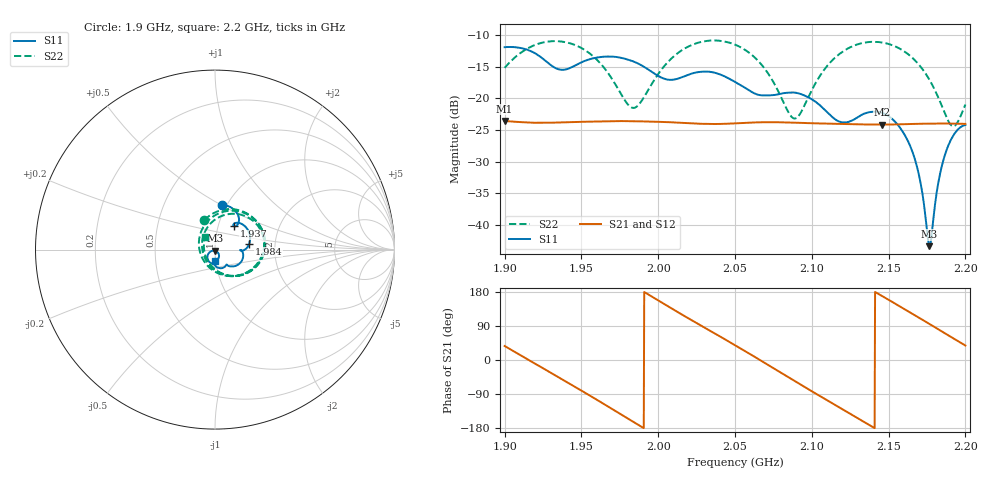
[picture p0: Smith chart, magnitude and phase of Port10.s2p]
# Hz S RI R 50
! CMT, CMT808U, 21440046, 21.4.3/4
! Date: 3/28/2026 5:02:37 PM
! Data: Format (Calibration Info)
! Freq	S11:Re/Im(F2)	S41:Re/Im(F2)	S14:Re/Im(F2)	S44:Re/Im(F2)
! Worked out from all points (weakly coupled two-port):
!   1001 points, 1.9 GHz to 2.2 GHz, reference 50 ohm
!   highest |S21| = -23.58 dB at 1.9 GHz (marker M1); lowest = -24.1 dB at 2.146 GHz (marker M2)
!   lowest |S11| = -43.3 dB at 2.177 GHz (marker M3), VSWR 1.01, Z = 49.8 - j0.663 ohm
!   |S11| at or under -10 dB: start of sweep to end of sweep
!   |S22| runs from -24.4 to -10.9 dB; largest |S21 - S12| = 0.00042
!   S11 on the Smith chart (normalised r, x): 1.9 GHz: 0.95, +0.51; 1.937 GHz: 1.19, +0.32; 1.984 GHz: 1.47, +0.10; 2.2 GHz: 0.99, -0.12
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1.9e9  0.0403 0.2496  0.0529 0.0398  0.0525 0.04  -0.0593 0.1633
1.9174e9  0.1253 0.1982  0.0641 -0.00461  0.064 -0.00427  0.1302 0.2204
1.9369e9  0.1055 0.1305  0.0419 -0.049  0.0421 -0.0488  0.2728 0.0648
1.9501e9  0.1207 0.1497  0.0102 -0.0644  0.0105 -0.0642  0.2368 -0.0762
1.9669e9  0.1799 0.1147  -0.0346 -0.0561  -0.0343 -0.0562  0.0672 -0.1463
1.9843e9  0.1911 0.0337  -0.0635 -0.0177  -0.0634 -0.018  -0.0805 -0.0241
2.0002e9  0.1495 -0.00611  -0.0599 0.0257  -0.0599 0.0254  -0.0491 0.1487
2.0212e9  0.1549 -0.0169  -0.0178 0.0609  -0.018 0.0607  0.163 0.2039
2.05e9  0.0964 -0.0939  0.0491 0.0401  0.0488 0.0403  0.2594 -0.0536
2.0689e9  0.0648 -0.083  0.0643 -0.00744  0.0642 -0.00708  0.091 -0.1483
2.0878e9  0.0441 -0.102  0.0387 -0.0513  0.0389 -0.0511  -0.0638 -0.0284
2.1001e9  0.0102 -0.0975  0.00804 -0.063  0.00836 -0.063  -0.0544 0.103
2.1202e9  0.00106 -0.0645  -0.041 -0.0475  -0.0407 -0.0476  0.1236 0.1983
2.146e9  -0.0289 -0.071  -0.0607 0.0126  -0.0608 0.0123  0.2749 0.01
2.1502e9  -0.037 -0.0617  -0.0578 0.0229  -0.0578 0.0226  0.2656 -0.0321
2.1664e9  -0.0315 -0.016  -0.0312 0.0545  -0.0315 0.0542  0.1466 -0.141
2.1709e9  -0.0196 -0.00826  -0.0205 0.0596  -0.0207 0.0594  0.0998 -0.1461
2.1766e9  -0.00154 -0.00665  -0.00563 0.0629  -0.00596 0.0628  0.0413 -0.1337
2.1826e9  0.0155 -0.0161  0.0105 0.0624  0.0102 0.0624  -0.0116 -0.099
2.1865e9  0.0217 -0.0277  0.0207 0.0598  0.0203 0.0598  -0.0375 -0.0667
2.1925e9  0.0191 -0.0481  0.035 0.0525  0.0347 0.0526  -0.0598 -0.00732
2.2e9  -0.00257 -0.0615  0.0494 0.0388  0.0491 0.039  -0.0541 0.0711
